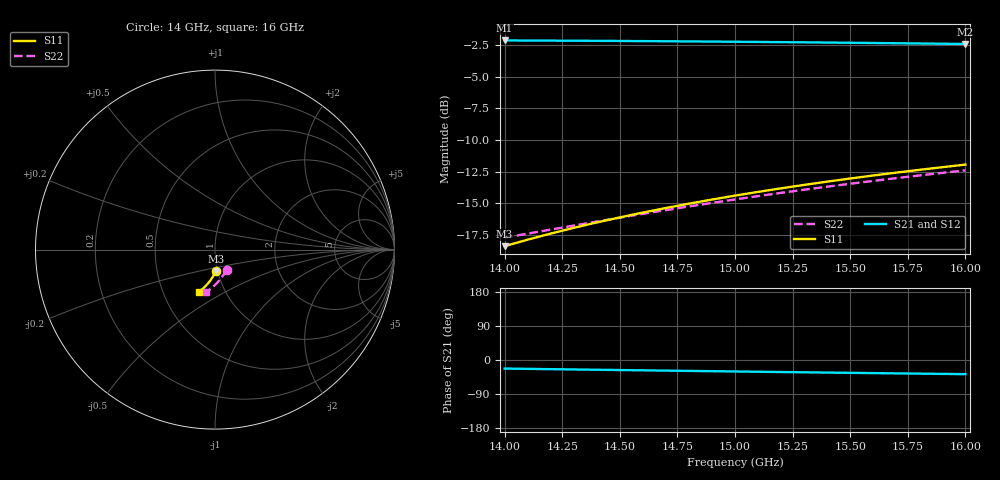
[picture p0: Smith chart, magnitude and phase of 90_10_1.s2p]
! Created Fri Dec 11 14:08:39 2020
# hz S ma R 50
! 2 Port Network Data from Sweep1.SP1.SP block
! freq  magS11  angS11  magS21  angS21  magS12  angS12  magS22  angS22
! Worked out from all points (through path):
!   21 points, 14 GHz to 16 GHz, reference 50 ohm
!   highest |S21| = -2.14 dB at 14 GHz (marker M1); lowest = -2.4 dB at 16 GHz (marker M2)
!   lowest |S11| = -18.4 dB at 14 GHz (marker M3), VSWR 1.27, Z = 49 - j12 ohm
!   |S11| at or under -10 dB: start of sweep to end of sweep
!   |S22| runs from -17.7 to -12.4 dB; largest |S21 - S12| = 0
1.4e10  0.1203 -88.1  0.7818 -22.6  0.7818 -22.6  0.1299 -60.3
1.41e10  0.1277 -89.7  0.7812 -23.4  0.7812 -23.4  0.1348 -63.6
1.42e10  0.1349 -91.3  0.7805 -24.2  0.7805 -24.2  0.1399 -66.8
1.43e10  0.1422 -92.8  0.7798 -25.0  0.7798 -25.0  0.1451 -69.7
1.44e10  0.1493 -94.2  0.779 -25.7  0.779 -25.7  0.1505 -72.4
1.45e10  0.1564 -95.5  0.7781 -26.5  0.7781 -26.5  0.1559 -75.0
1.46e10  0.1634 -96.8  0.7771 -27.3  0.7771 -27.3  0.1615 -77.5
1.47e10  0.1703 -98.0  0.7761 -28.0  0.7761 -28.0  0.1671 -79.8
1.48e10  0.1771 -99.2  0.775 -28.8  0.775 -28.8  0.1727 -81.9
1.49e10  0.1839 -100.3  0.7738 -29.5  0.7738 -29.5  0.1784 -84.0
1.5e10  0.1906 -101.4  0.7726 -30.3  0.7726 -30.3  0.1841 -85.9
1.51e10  0.1971 -102.5  0.7713 -31.0  0.7713 -31.0  0.1897 -87.8
1.52e10  0.2037 -103.5  0.7699 -31.7  0.7699 -31.7  0.1954 -89.6
1.53e10  0.2101 -104.5  0.7685 -32.5  0.7685 -32.5  0.2011 -91.3
1.54e10  0.2164 -105.5  0.767 -33.2  0.767 -33.2  0.2067 -92.9
1.55e10  0.2227 -106.5  0.7654 -33.9  0.7654 -33.9  0.2123 -94.5
1.56e10  0.2289 -107.5  0.7639 -34.6  0.7639 -34.6  0.2179 -96.0
1.57e10  0.2349 -108.4  0.7622 -35.3  0.7622 -35.3  0.2234 -97.4
1.58e10  0.2409 -109.3  0.7605 -36.0  0.7605 -36.0  0.2289 -98.8
1.59e10  0.2468 -110.2  0.7588 -36.7  0.7588 -36.7  0.2344 -100.1
1.6e10  0.2527 -111.1  0.757 -37.3  0.757 -37.3  0.2398 -101.4
